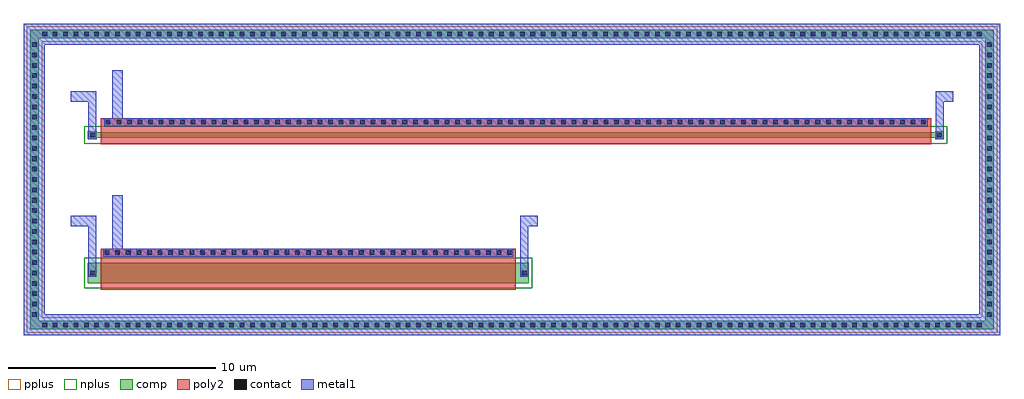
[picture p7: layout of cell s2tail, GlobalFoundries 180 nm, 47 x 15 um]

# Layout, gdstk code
import gdstk
lib = gdstk.Library(unit=1e-6, precision=1e-09)
def R(c, l, rs):  # rectangles x0, y0, x1, y1
    for r in rs: c.add(gdstk.rectangle(r[:2], r[2:], *l))
def A(c, l, x, y, w, h, nx, ny, dx, dy):  # array of equal rectangles
    R(c, l, [(x+i*dx, y+j*dy, x+i*dx+w, y+j*dy+h) for i in range(nx) for j in range(ny)])
comp = (22, 0)
poly2 = (30, 0)
pplus = (31, 0)
nplus = (32, 0)
contact = (33, 0)
metal1 = (34, 0)

nfet__7 = lib.new_cell('nfet__7')
R(nfet__7, comp, [(-0.42,0,0,1), (0,0,20.38,1), (20.38,0,20.8,1)])
R(nfet__7, poly2, [(0.19,-0.3,20.19,1.3), (0.19,1.3,20.19,1.66)])
R(nfet__7, nplus, [(-0.59,-0.24,20.97,1.24)])
A(nfet__7, contact, 0.39, 1.37, 0.22, 0.22, 39, 1, 0.51, 0)
R(nfet__7, contact, [(-0.32,0.39,-0.1,0.61), (20.48,0.39,20.7,0.61)])
R(nfet__7, metal1, [(-0.4,0.305,-0.02,0.695), (20.4,0.305,20.78,0.695), (0.31,1.29,20.07,1.67)])

nfet__8 = lib.new_cell('nfet__8')
R(nfet__8, comp, [(-0.42,-0.05,0,0.33), (40.38,-0.05,40.8,0.33), (0,0,40.38,0.28)])
R(nfet__8, poly2, [(0.19,-0.3,40.19,0.58), (0.19,0.58,40.19,0.94)])
R(nfet__8, nplus, [(-0.59,-0.29,40.97,0.57)])
A(nfet__8, contact, 0.445, 0.65, 0.22, 0.22, 78, 1, 0.51, 0)
R(nfet__8, contact, [(-0.32,0.03,-0.1,0.25), (40.48,0.03,40.7,0.25)])
R(nfet__8, metal1, [(-0.4,-0.055,-0.02,0.335), (40.4,-0.055,40.78,0.335), (0.365,0.57,40.015,0.95)])

s2tail = lib.new_cell('s2tail')
R(s2tail, comp, [(-3.21,-2.21,-2.79,12.21), (-2.79,-2.21,42.79,-1.79), (42.79,-2.21,43.21,12.21), (-2.79,11.79,42.79,12.21)])
R(s2tail, pplus, [(-3.37,-2.37,43.37,-1.63), (-3.37,-2.37,-2.63,12.37), (42.63,-2.37,43.37,12.37), (-3.37,11.63,43.37,12.37)])
A(s2tail, contact, -2.61, -2.11, 0.22, 0.22, 91, 2, 0.5, 14)
A(s2tail, contact, -3.11, -1.61, 0.22, 0.22, 1, 27, 0, 0.5)
A(s2tail, contact, 42.89, -1.61, 0.22, 0.22, 1, 27, 0, 0.5)
R(s2tail, metal1, [(-3.5,-2.5,-2.5,12.5), (-2.5,-2.5,42.5,-1.5), (42.5,-2.5,43.5,12.5), (-0.4,0.675,-0.02,3.25), (20.4,0.675,20.78,3.25), (0.75,1.65,1.25,4.25), (-1.25,2.75,-0.02,3.25), (20.4,2.75,21.25,3.25), (-0.4,7.315,-0.02,9.25), (40.4,7.315,40.78,9.25), (0.75,7.93,1.25,10.25), (-1.25,8.75,-0.02,9.25), (40.4,8.75,41.25,9.25), (-2.5,11.5,42.5,12.5)])
s2tail.add(gdstk.Reference(nfet__7, (0,0)))
s2tail.add(gdstk.Reference(nfet__8, (0,7)))

lib.write_gds('s2tail.gds')
